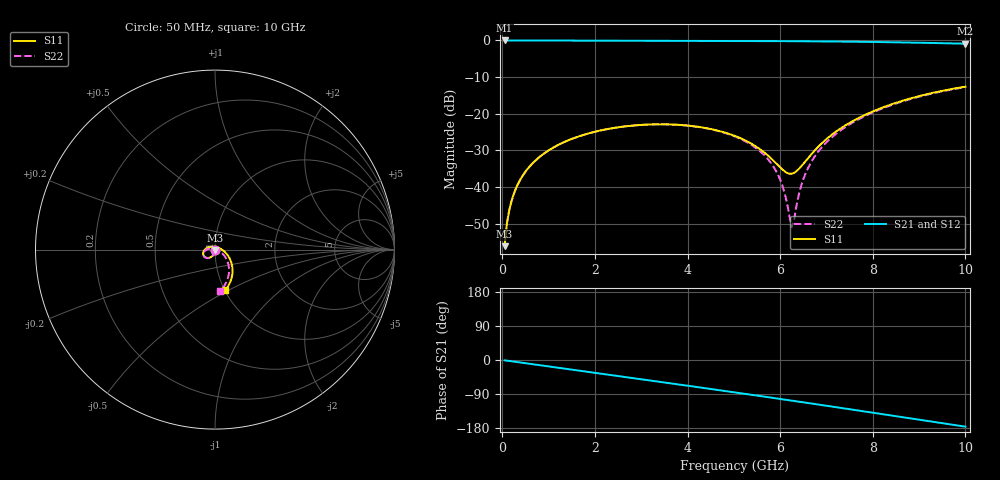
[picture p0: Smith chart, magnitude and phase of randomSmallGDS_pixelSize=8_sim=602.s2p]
! freq	dB(S11)	phase(S11)	dB(S12)	phase(S12)
!  dB(S21)	phase(S21)	dB(S22)	phase(S22)
!S-par simulation data
#  GHz  S  DB  R 50
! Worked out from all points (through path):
!   200 points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, 50 MHz to 10 GHz, reference 50 ohm
!   highest |S21| = 0.00 dB at 50 MHz (marker M1); lowest = -0.9 dB at 10 GHz (marker M2)
!   group delay of S21, straight-line fit = 48.8 ps
!   lowest |S11| = -56.1 dB at 50 MHz (marker M3), VSWR 1.00, Z = 50 - j0.156 ohm
!   |S11| at or under -10 dB: start of sweep to end of sweep
!   |S22| runs from -55.9 to -12.7 dB; largest |S21 - S12| = 0
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0.05  -56.15 -91.4  -0.00 -0.9  -0.00 -0.9  -55.93 -90.3
0.1  -49.97 -93.1  -0.00 -1.7  -0.00 -1.7  -49.89 -91.8
0.2  -43.80 -94.8  -0.00 -3.4  -0.00 -3.4  -43.82 -94.0
0.35  -38.89 -97.1  -0.01 -6.0  -0.01 -6.0  -38.92 -96.7
0.5  -35.82 -99.6  -0.01 -8.5  -0.01 -8.5  -35.83 -99.2
1  -30.01 -108.3  -0.02 -17.0  -0.02 -17.0  -30.01 -107.7
1.75  -25.79 -121.6  -0.04 -29.6  -0.04 -29.6  -25.79 -120.5
3.4  -22.88 -151.5  -0.09 -57.6  -0.09 -57.6  -22.89 -148.5
4.3  -23.71 -169.5  -0.11 -73.0  -0.11 -73.0  -23.75 -164.3
5.05  -26.19 172.2  -0.14 -86.0  -0.14 -86.0  -26.34 -178.1
5.5  -29.11 156.4  -0.16 -93.9  -0.16 -93.9  -29.57 172.5
5.85  -32.73 134.6  -0.18 -100.1  -0.18 -100.1  -34.34 162.7
6.05  -35.24 111.0  -0.19 -103.6  -0.19 -103.6  -39.67 151.9
6.15  -36.16 93.7  -0.19 -105.4  -0.19 -105.4  -44.47 137.7
6.25  -36.38 73.6  -0.20 -107.2  -0.20 -107.2  -50.98 81.9
6.3  -36.15 63.5  -0.20 -108.1  -0.20 -108.1  -49.07 36.4
6.45  -34.42 37.4  -0.22 -110.8  -0.22 -110.8  -39.81 -3.6
6.7  -30.65 11.2  -0.24 -115.3  -0.24 -115.3  -32.56 -17.2
7  -26.91 -5.8  -0.27 -120.7  -0.27 -120.7  -27.80 -25.5
7.35  -23.64 -18.4  -0.31 -127.1  -0.31 -127.1  -24.14 -33.1
8.35  -17.67 -43.4  -0.47 -145.5  -0.47 -145.5  -17.88 -52.5
10  -12.61 -76.1  -0.88 -175.9  -0.88 -175.9  -12.74 -82.9
